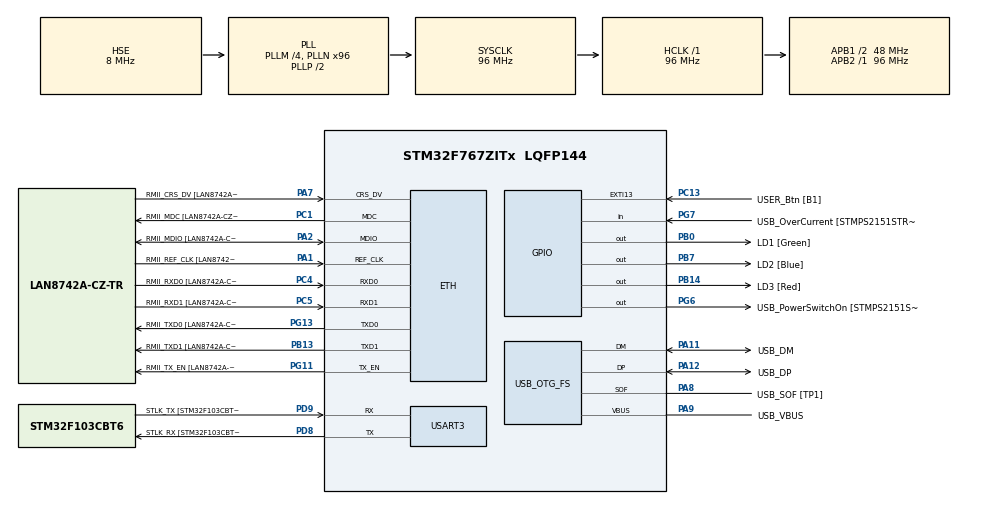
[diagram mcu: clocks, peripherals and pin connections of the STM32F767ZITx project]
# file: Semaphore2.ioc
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ETH.MediaInterface=HAL_ETH_RMII_MODE
ETH.PHY_Name=LAN8742A_PHY_ADDRESS
ETH.PHY_Value=0
ETH.PhyAddress=0
FREERTOS.BinarySemaphores01=BinarySem01,Dynamic,NULL,Depleted
FREERTOS.Tasks01=defaultTask,24,128,StartDefaultTask,Default,NULL,Dynamic,NULL,NULL;Task02,24,128,StartTask02,Default,NULL,Dynamic,NULL,NULL
FREERTOS.configUSE_NEWLIB_REENTRANT=1
Mcu.Family=STM32F7
Mcu.Name=STM32F767ZITx
Mcu.Package=LQFP144
NVIC.EXTI15_10_IRQn=true\:5\:0\:false\:false\:true\:true\:true\:true\:true
NVIC.PriorityGroup=NVIC_PRIORITYGROUP_4
NVIC.TIM6_DAC_IRQn=true\:15\:0\:false\:false\:true\:false\:false\:true\:true
NVIC.TimeBase=TIM6_DAC_IRQn
NVIC.TimeBaseIP=TIM6
PA1.GPIO_Label=RMII_REF_CLK [LAN8742A-CZ-TR_REFCLK0]
PA1.Mode=RMII
PA1.Signal=ETH_REF_CLK
PA10.GPIO_Label=USB_ID
PA10.Signal=USB_OTG_FS_ID
PA11.GPIO_Label=USB_DM
PA11.Mode=Device_Only
PA11.Signal=USB_OTG_FS_DM
PA12.GPIO_Label=USB_DP
PA12.Mode=Device_Only
PA12.Signal=USB_OTG_FS_DP
PA13.GPIO_Label=TMS
PA13.Mode=Serial_Wire
PA13.Signal=SYS_JTMS-SWDIO
PA14.GPIO_Label=TCK
PA14.Mode=Serial_Wire
PA14.Signal=SYS_JTCK-SWCLK
PA2.GPIO_Label=RMII_MDIO [LAN8742A-CZ-TR_MDIO]
PA2.Mode=RMII
PA2.Signal=ETH_MDIO
PA7.GPIO_Label=RMII_CRS_DV [LAN8742A-CZ-TR_CRS_DV]
PA7.Mode=RMII
PA7.Signal=ETH_CRS_DV
PA8.GPIO_Label=USB_SOF [TP1]
PA8.Mode=Activate_SOF_FS
PA8.Signal=USB_OTG_FS_SOF
PA9.GPIO_Label=USB_VBUS
PA9.Mode=Activate_VBUS
PA9.Signal=USB_OTG_FS_VBUS
PB0.GPIO_Label=LD1 [Green]
PB0.Signal=GPIO_Output
PB13.GPIO_Label=RMII_TXD1 [LAN8742A-CZ-TR_TXD1]
PB13.Mode=RMII
PB13.Signal=ETH_TXD1
PB14.GPIO_Label=LD3 [Red]
PB14.Signal=GPIO_Output
PB3.GPIO_Label=SWO
PB3.Signal=SYS_JTDO-SWO
PB7.GPIO_Label=LD2 [Blue]
PB7.Signal=GPIO_Output
PC1.GPIO_Label=RMII_MDC [LAN8742A-CZ-TR_MDC]
PC1.Mode=RMII
PC1.Signal=ETH_MDC
PC13.GPIO_Label=USER_Btn [B1]
PC13.Signal=GPXTI13
PC14/OSC32_IN.Mode=LSE-External-Oscillator
PC14/OSC32_IN.Signal=RCC_OSC32_IN
PC15/OSC32_OUT.Mode=LSE-External-Oscillator
PC15/OSC32_OUT.Signal=RCC_OSC32_OUT
PC4.GPIO_Label=RMII_RXD0 [LAN8742A-CZ-TR_RXD0]
PC4.Mode=RMII
PC4.Signal=ETH_RXD0
PC5.GPIO_Label=RMII_RXD1 [LAN8742A-CZ-TR_RXD1]
PC5.Mode=RMII
PC5.Signal=ETH_RXD1
PD8.GPIO_Label=STLK_RX [STM32F103CBT6_PA3]
PD8.Mode=Asynchronous
PD8.Signal=USART3_TX
PD9.GPIO_Label=STLK_TX [STM32F103CBT6_PA2]
PD9.Mode=Asynchronous
PD9.Signal=USART3_RX
PG11.GPIO_Label=RMII_TX_EN [LAN8742A-CZ-TR_TXEN]
PG11.Mode=RMII
PG11.Signal=ETH_TX_EN
PG13.GPIO_Label=RMII_TXD0 [LAN8742A-CZ-TR_TXD0]
PG13.Mode=RMII
PG13.Signal=ETH_TXD0
PG6.GPIO_Label=USB_PowerSwitchOn [STMPS2151STR_EN]
PG6.Signal=GPIO_Output
PG7.GPIO_Label=USB_OverCurrent [STMPS2151STR_FAULT]
PG7.Signal=GPIO_Input
PH0/OSC_IN.GPIO_Label=MCO [STM32F103CBT6_PA8]
PH0/OSC_IN.Mode=HSE-External-Clock-Source
PH0/OSC_IN.Signal=RCC_OSC_IN
PH1/OSC_OUT.Mode=HSE-External-Clock-Source
PH1/OSC_OUT.Signal=RCC_OSC_OUT
ProjectManager.HeapSize=0x200
ProjectManager.StackSize=0x400
ProjectManager.TargetToolchain=STM32CubeIDE
RCC.48MHZClocksFreq_Value=24000000
RCC.AHBFreq_Value=96000000
RCC.APB1CLKDivider=RCC_HCLK_DIV2
RCC.APB1Freq_Value=48000000
RCC.APB1TimFreq_Value=96000000
RCC.APB2Freq_Value=96000000
RCC.APB2TimFreq_Value=96000000
RCC.CortexFreq_Value=96000000
RCC.HCLKFreq_Value=96000000
RCC.HSE_VALUE=8000000
RCC.HSI_VALUE=16000000
RCC.PLLM=4
RCC.PLLMUL=RCC_PLL_MUL9
RCC.PLLN=96
RCC.PLLQ=4
RCC.PRESCALERUSB=RCC_USBCLKSOURCE_PLL_DIV1_5
RCC.SYSCLKFreq_VALUE=96000000
RCC.SYSCLKSource=RCC_SYSCLKSOURCE_PLLCLK
RCC.SYSCLKSourceVirtual=RCC_SYSCLKSOURCE_PLLCLK
RCC.USBFreq_Value=48000000
RCC.VCOOutputFreq_Value=192000000
USART3.VirtualMode-Asynchronous=VM_ASYNC
USB_OTG_FS.VirtualMode=Device_Only
VP_FREERTOS_VS_CMSIS_V2.Mode=CMSIS_V2
VP_SYS_VS_tim6.Mode=TIM6
board=NUCLEO-F767ZI

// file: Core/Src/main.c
/* USER CODE BEGIN Header */
/**
  ******************************************************************************
  * @file           : main.c
  * @brief          : Main program body
  ******************************************************************************
  * @attention
  *
  * Copyright (c) 2025 STMicroelectronics.
  * All rights reserved.
  *
  * This software is licensed under terms that can be found in the LICENSE file
  * in the root directory of this software component.
  * If no LICENSE file comes with this software, it is provided AS-IS.
  *
  ******************************************************************************
  */
/* USER CODE END Header */
#include "main.h"
#include "string.h"
#include "cmsis_os.h"

#if defined ( __ICCARM__ ) /*!< IAR Compiler */
#pragma location=0x2007c000
ETH_DMADescTypeDef  DMARxDscrTab[ETH_RX_DESC_CNT]; /* Ethernet Rx DMA Descriptors */
#pragma location=0x2007c0a0
ETH_DMADescTypeDef  DMATxDscrTab[ETH_TX_DESC_CNT]; /* Ethernet Tx DMA Descriptors */

#elif defined ( __CC_ARM )  /* MDK ARM Compiler */

__attribute__((at(0x2007c000))) ETH_DMADescTypeDef  DMARxDscrTab[ETH_RX_DESC_CNT]; /* Ethernet Rx DMA Descriptors */
__attribute__((at(0x2007c0a0))) ETH_DMADescTypeDef  DMATxDscrTab[ETH_TX_DESC_CNT]; /* Ethernet Tx DMA Descriptors */

#elif defined ( __GNUC__ ) /* GNU Compiler */

ETH_DMADescTypeDef DMARxDscrTab[ETH_RX_DESC_CNT] __attribute__((section(".RxDecripSection"))); /* Ethernet Rx DMA Descriptors */
ETH_DMADescTypeDef DMATxDscrTab[ETH_TX_DESC_CNT] __attribute__((section(".TxDecripSection")));   /* Ethernet Tx DMA Descriptors */
#endif

ETH_TxPacketConfig TxConfig;

ETH_HandleTypeDef heth;

UART_HandleTypeDef huart3;

PCD_HandleTypeDef hpcd_USB_OTG_FS;

/* Definitions for defaultTask */
osThreadId_t defaultTaskHandle;
const osThreadAttr_t defaultTask_attributes = {
  .name = "defaultTask",
  .stack_size = 128 * 4,
  .priority = (osPriority_t) osPriorityNormal,
};
/* Definitions for Task02 */
osThreadId_t Task02Handle;
const osThreadAttr_t Task02_attributes = {
  .name = "Task02",
  .stack_size = 128 * 4,
  .priority = (osPriority_t) osPriorityNormal,
};
/* Definitions for BinarySem01 */
osSemaphoreId_t BinarySem01Handle;
const osSemaphoreAttr_t BinarySem01_attributes = {
  .name = "BinarySem01"
};

void SystemClock_Config(void);
static void MX_GPIO_Init(void);
static void MX_ETH_Init(void);
static void MX_USART3_UART_Init(void);
static void MX_USB_OTG_FS_PCD_Init(void);
void StartDefaultTask(void *argument);
void StartTask02(void *argument);

/* USER CODE BEGIN 0 */
void HAL_GPIO_EXTI_Callback(uint16_t GPIO_Pin){
	if(GPIO_Pin == GPIO_PIN_13){
		osSemaphoreRelease(BinarySem01Handle);
	}
}
/* USER CODE END 0 */

int main(void)
{

  /* MCU Configuration--------------------------------------------------------*/

  /* Reset of all peripherals, Initializes the Flash interface and the Systick. */
  HAL_Init();

  /* Configure the system clock */
  SystemClock_Config();

  /* Initialize all configured peripherals */
  MX_GPIO_Init();
  MX_ETH_Init();
  MX_USART3_UART_Init();
  MX_USB_OTG_FS_PCD_Init();

  /* Init scheduler */
  osKernelInitialize();

  /* Create the semaphores(s) */
  /* creation of BinarySem01 */
  BinarySem01Handle = osSemaphoreNew(1, 0, &BinarySem01_attributes);

  /* Create the thread(s) */
  /* creation of defaultTask */
  defaultTaskHandle = osThreadNew(StartDefaultTask, NULL, &defaultTask_attributes);

  /* creation of Task02 */
  Task02Handle = osThreadNew(StartTask02, NULL, &Task02_attributes);

  /* Start scheduler */
  osKernelStart();

  /* We should never get here as control is now taken by the scheduler */

  /* Infinite loop */
  while (1)
  {

  }
}

void SystemClock_Config(void)
{
  RCC_OscInitTypeDef RCC_OscInitStruct = {0};
  RCC_ClkInitTypeDef RCC_ClkInitStruct = {0};

  /** Configure LSE Drive Capability
  */
  HAL_PWR_EnableBkUpAccess();

  /** Configure the main internal regulator output voltage
  */
  __HAL_RCC_PWR_CLK_ENABLE();
  __HAL_PWR_VOLTAGESCALING_CONFIG(PWR_REGULATOR_VOLTAGE_SCALE3);

  /** Initializes the RCC Oscillators according to the specified parameters
  * in the RCC_OscInitTypeDef structure.
  */
  RCC_OscInitStruct.OscillatorType = RCC_OSCILLATORTYPE_HSE;
  RCC_OscInitStruct.HSEState = RCC_HSE_BYPASS;
  RCC_OscInitStruct.PLL.PLLState = RCC_PLL_ON;
  RCC_OscInitStruct.PLL.PLLSource = RCC_PLLSOURCE_HSE;
  RCC_OscInitStruct.PLL.PLLM = 4;
  RCC_OscInitStruct.PLL.PLLN = 96;
  RCC_OscInitStruct.PLL.PLLP = RCC_PLLP_DIV2;
  RCC_OscInitStruct.PLL.PLLQ = 4;
  RCC_OscInitStruct.PLL.PLLR = 2;
  if (HAL_RCC_OscConfig(&RCC_OscInitStruct) != HAL_OK)
  {
    Error_Handler();
  }

  /** Activate the Over-Drive mode
  */
  if (HAL_PWREx_EnableOverDrive() != HAL_OK)
  {
    Error_Handler();
  }

  /** Initializes the CPU, AHB and APB buses clocks
  */
  RCC_ClkInitStruct.ClockType = RCC_CLOCKTYPE_HCLK|RCC_CLOCKTYPE_SYSCLK
                              |RCC_CLOCKTYPE_PCLK1|RCC_CLOCKTYPE_PCLK2;
  RCC_ClkInitStruct.SYSCLKSource = RCC_SYSCLKSOURCE_PLLCLK;
  RCC_ClkInitStruct.AHBCLKDivider = RCC_SYSCLK_DIV1;
  RCC_ClkInitStruct.APB1CLKDivider = RCC_HCLK_DIV2;
  RCC_ClkInitStruct.APB2CLKDivider = RCC_HCLK_DIV1;

  if (HAL_RCC_ClockConfig(&RCC_ClkInitStruct, FLASH_LATENCY_3) != HAL_OK)
  {
    Error_Handler();
  }
}

static void MX_ETH_Init(void)
{

   static uint8_t MACAddr[6];

  heth.Instance = ETH;
  MACAddr[0] = 0x00;
  MACAddr[1] = 0x80;
  MACAddr[2] = 0xE1;
  MACAddr[3] = 0x00;
  MACAddr[4] = 0x00;
  MACAddr[5] = 0x00;
  heth.Init.MACAddr = &MACAddr[0];
  heth.Init.MediaInterface = HAL_ETH_RMII_MODE;
  heth.Init.TxDesc = DMATxDscrTab;
  heth.Init.RxDesc = DMARxDscrTab;
  heth.Init.RxBuffLen = 1524;

  if (HAL_ETH_Init(&heth) != HAL_OK)
  {
    Error_Handler();
  }

  memset(&TxConfig, 0 , sizeof(ETH_TxPacketConfig));
  TxConfig.Attributes = ETH_TX_PACKETS_FEATURES_CSUM | ETH_TX_PACKETS_FEATURES_CRCPAD;
  TxConfig.ChecksumCtrl = ETH_CHECKSUM_IPHDR_PAYLOAD_INSERT_PHDR_CALC;
  TxConfig.CRCPadCtrl = ETH_CRC_PAD_INSERT;

}

static void MX_USART3_UART_Init(void)
{

  huart3.Instance = USART3;
  huart3.Init.BaudRate = 115200;
  huart3.Init.WordLength = UART_WORDLENGTH_8B;
  huart3.Init.StopBits = UART_STOPBITS_1;
  huart3.Init.Parity = UART_PARITY_NONE;
  huart3.Init.Mode = UART_MODE_TX_RX;
  huart3.Init.HwFlowCtl = UART_HWCONTROL_NONE;
  huart3.Init.OverSampling = UART_OVERSAMPLING_16;
  huart3.Init.OneBitSampling = UART_ONE_BIT_SAMPLE_DISABLE;
  huart3.AdvancedInit.AdvFeatureInit = UART_ADVFEATURE_NO_INIT;
  if (HAL_UART_Init(&huart3) != HAL_OK)
  {
    Error_Handler();
  }

}

static void MX_USB_OTG_FS_PCD_Init(void)
{

  hpcd_USB_OTG_FS.Instance = USB_OTG_FS;
  hpcd_USB_OTG_FS.Init.dev_endpoints = 6;
  hpcd_USB_OTG_FS.Init.speed = PCD_SPEED_FULL;
  hpcd_USB_OTG_FS.Init.dma_enable = DISABLE;
  hpcd_USB_OTG_FS.Init.phy_itface = PCD_PHY_EMBEDDED;
  hpcd_USB_OTG_FS.Init.Sof_enable = ENABLE;
  hpcd_USB_OTG_FS.Init.low_power_enable = DISABLE;
  hpcd_USB_OTG_FS.Init.lpm_enable = DISABLE;
  hpcd_USB_OTG_FS.Init.vbus_sensing_enable = ENABLE;
  hpcd_USB_OTG_FS.Init.use_dedicated_ep1 = DISABLE;
  if (HAL_PCD_Init(&hpcd_USB_OTG_FS) != HAL_OK)
  {
    Error_Handler();
  }

}

static void MX_GPIO_Init(void)
{
  GPIO_InitTypeDef GPIO_InitStruct = {0};

  /* GPIO Ports Clock Enable */
  __HAL_RCC_GPIOC_CLK_ENABLE();
  __HAL_RCC_GPIOH_CLK_ENABLE();
  __HAL_RCC_GPIOA_CLK_ENABLE();
  __HAL_RCC_GPIOB_CLK_ENABLE();
  __HAL_RCC_GPIOD_CLK_ENABLE();
  __HAL_RCC_GPIOG_CLK_ENABLE();

  /*Configure GPIO pin Output Level */
  HAL_GPIO_WritePin(GPIOB, LD1_Pin|LD3_Pin|LD2_Pin, GPIO_PIN_RESET);

  /*Configure GPIO pin Output Level */
  HAL_GPIO_WritePin(USB_PowerSwitchOn_GPIO_Port, USB_PowerSwitchOn_Pin, GPIO_PIN_RESET);

  /*Configure GPIO pin : USER_Btn_Pin */
  GPIO_InitStruct.Pin = USER_Btn_Pin;
  GPIO_InitStruct.Mode = GPIO_MODE_IT_RISING;
  GPIO_InitStruct.Pull = GPIO_NOPULL;
  HAL_GPIO_Init(USER_Btn_GPIO_Port, &GPIO_InitStruct);

  /*Configure GPIO pins : LD1_Pin LD3_Pin LD2_Pin */
  GPIO_InitStruct.Pin = LD1_Pin|LD3_Pin|LD2_Pin;
  GPIO_InitStruct.Mode = GPIO_MODE_OUTPUT_PP;
  GPIO_InitStruct.Pull = GPIO_NOPULL;
  GPIO_InitStruct.Speed = GPIO_SPEED_FREQ_LOW;
  HAL_GPIO_Init(GPIOB, &GPIO_InitStruct);

  /*Configure GPIO pin : USB_PowerSwitchOn_Pin */
  GPIO_InitStruct.Pin = USB_PowerSwitchOn_Pin;
  GPIO_InitStruct.Mode = GPIO_MODE_OUTPUT_PP;
  GPIO_InitStruct.Pull = GPIO_NOPULL;
  GPIO_InitStruct.Speed = GPIO_SPEED_FREQ_LOW;
  HAL_GPIO_Init(USB_PowerSwitchOn_GPIO_Port, &GPIO_InitStruct);

  /*Configure GPIO pin : USB_OverCurrent_Pin */
  GPIO_InitStruct.Pin = USB_OverCurrent_Pin;
  GPIO_InitStruct.Mode = GPIO_MODE_INPUT;
  GPIO_InitStruct.Pull = GPIO_NOPULL;
  HAL_GPIO_Init(USB_OverCurrent_GPIO_Port, &GPIO_InitStruct);

  /* EXTI interrupt init*/
  HAL_NVIC_SetPriority(EXTI15_10_IRQn, 5, 0);
  HAL_NVIC_EnableIRQ(EXTI15_10_IRQn);

}

void StartDefaultTask(void *argument)
{
  /* USER CODE BEGIN 5 */
	char buf[64];
  /* Infinite loop */
  for(;;)
  {
    snprintf(buf, sizeof(buf), "T1 waiting for semaphore\r \n");
    HAL_UART_Transmit(&huart3, (uint8_t*)buf, strlen(buf), HAL_MAX_DELAY);

    osSemaphoreAcquire(BinarySem01Handle, osWaitForever);

    snprintf(buf, sizeof(buf), "T1 holding semaphore\r \n");
	HAL_UART_Transmit(&huart3, (uint8_t*)buf, strlen(buf), HAL_MAX_DELAY);
  }
  /* USER CODE END 5 */
}

void StartTask02(void *argument)
{
  /* USER CODE BEGIN StartTask02 */
	char buf[64];
  /* Infinite loop */
  for(;;)
  {
	  snprintf(buf, sizeof(buf), "T2 waiting for semaphore\r \n");
	  HAL_UART_Transmit(&huart3, (uint8_t*)buf, strlen(buf), HAL_MAX_DELAY);

	  osSemaphoreAcquire(BinarySem01Handle, osWaitForever);

	  snprintf(buf, sizeof(buf), "T2 holding semaphore\r \n");
	  HAL_UART_Transmit(&huart3, (uint8_t*)buf, strlen(buf), HAL_MAX_DELAY);
  }
  /* USER CODE END StartTask02 */
}

void HAL_TIM_PeriodElapsedCallback(TIM_HandleTypeDef *htim)
{
  if (htim->Instance == TIM6) {
    HAL_IncTick();
  }
}

void Error_Handler(void)
{
  __disable_irq();
  while (1)
  {
  }
}
